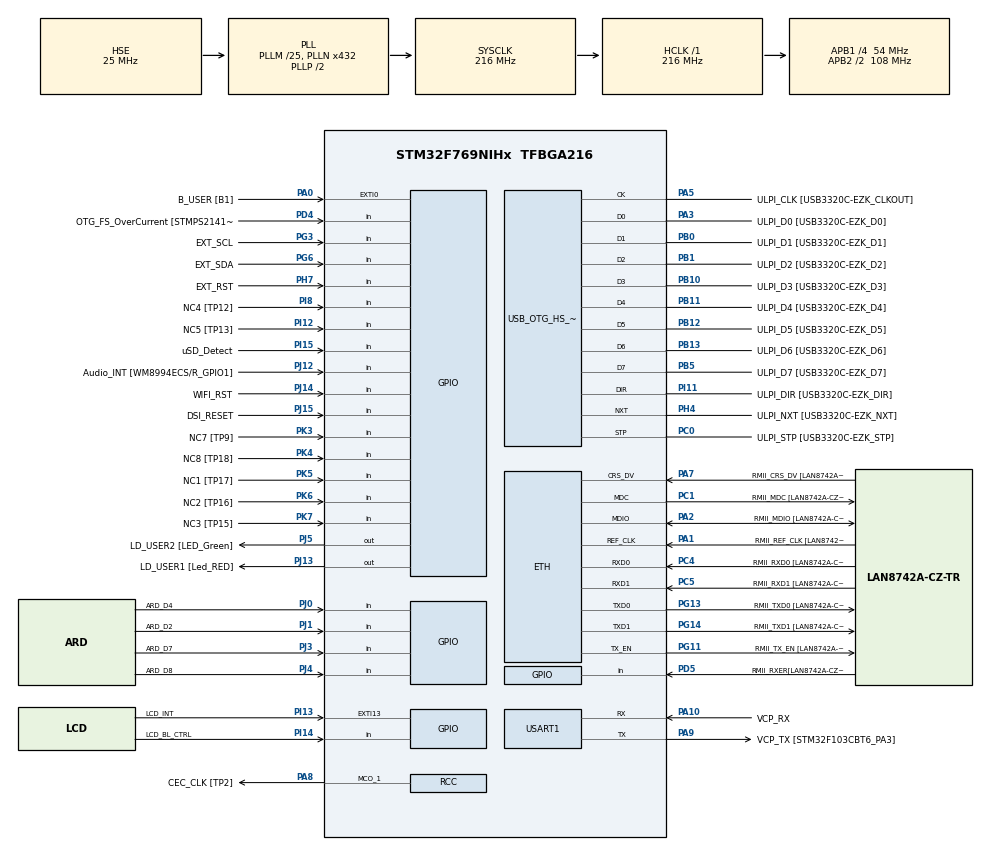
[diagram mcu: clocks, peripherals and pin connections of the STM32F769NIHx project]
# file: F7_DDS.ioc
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CORTEX_M7.BaseAddress_Spec=0x3007c000
CORTEX_M7.CPU_DCache=Enabled
CORTEX_M7.CPU_ICache=Enabled
CORTEX_M7.DisableExec_Spec=MPU_INSTRUCTION_ACCESS_ENABLE
CORTEX_M7.IsBufferable_Spec=MPU_ACCESS_BUFFERABLE
CORTEX_M7.IsCacheable_Spec=MPU_ACCESS_CACHEABLE
CORTEX_M7.MPU_Control=__NULL
CORTEX_M7.Size_Spec=MPU_REGION_SIZE_256B
CORTEX_M7.SubRegionDisable_Spec=0x0
CORTEX_M7.default_mode_Activation=1
DSIHOST_CKN.GPIO_Label=DSI_CK_N
DSIHOST_CKN.Signal=DSIHOST_CKN
DSIHOST_CKP.GPIO_Label=DSI_CK_P
DSIHOST_CKP.Signal=DSIHOST_CKP
DSIHOST_D0N.GPIO_Label=DSI_D0_N
DSIHOST_D0N.Signal=DSIHOST_D0N
DSIHOST_D0P.GPIO_Label=DSI_D0_p
DSIHOST_D0P.Signal=DSIHOST_D0P
DSIHOST_D1N.GPIO_Label=DSI_D1_N
DSIHOST_D1N.Signal=DSIHOST_D1N
DSIHOST_D1P.GPIO_Label=DSI_D1_P
DSIHOST_D1P.Signal=DSIHOST_D1P
Dma.Request0=USART1_RX
Dma.Request1=USART1_TX
Dma.USART1_RX.0.Direction=DMA_PERIPH_TO_MEMORY
Dma.USART1_RX.0.FIFOMode=DMA_FIFOMODE_DISABLE
Dma.USART1_RX.0.Instance=DMA2_Stream2
Dma.USART1_RX.0.MemDataAlignment=DMA_MDATAALIGN_BYTE
Dma.USART1_RX.0.MemInc=DMA_MINC_ENABLE
Dma.USART1_RX.0.Mode=DMA_NORMAL
Dma.USART1_RX.0.PeriphDataAlignment=DMA_PDATAALIGN_BYTE
Dma.USART1_RX.0.PeriphInc=DMA_PINC_DISABLE
Dma.USART1_RX.0.Priority=DMA_PRIORITY_MEDIUM
Dma.USART1_TX.1.Direction=DMA_MEMORY_TO_PERIPH
Dma.USART1_TX.1.FIFOMode=DMA_FIFOMODE_DISABLE
Dma.USART1_TX.1.Instance=DMA2_Stream7
Dma.USART1_TX.1.MemDataAlignment=DMA_MDATAALIGN_BYTE
Dma.USART1_TX.1.MemInc=DMA_MINC_ENABLE
Dma.USART1_TX.1.Mode=DMA_NORMAL
Dma.USART1_TX.1.PeriphDataAlignment=DMA_PDATAALIGN_BYTE
Dma.USART1_TX.1.PeriphInc=DMA_PINC_DISABLE
Dma.USART1_TX.1.Priority=DMA_PRIORITY_MEDIUM
ETH.MediaInterface=HAL_ETH_RMII_MODE
ETH.RxBuffLen=1524
FREERTOS.HEAP_NUMBER=2
FREERTOS.Tasks01=defaultTask,24,2048,StartDefaultTask,Default,NULL,Static,defaultTaskBuffer,defaultTaskControlBlock
FREERTOS.configTOTAL_HEAP_SIZE=16384
FREERTOS.configUSE_NEWLIB_REENTRANT=1
LWIP.BSP.number=1
LWIP.GATEWAY_ADDRESS=192.168.001.001
LWIP.IP_ADDRESS=192.168.001.002
LWIP.LWIP_DHCP=0
LWIP.LWIP_DNS=1
LWIP.MEMP_NUM_TCP_PCB=2
LWIP.MEMP_NUM_UDP_PCB=2
LWIP.NETMASK_ADDRESS=255.255.255.000
LWIP.Version=v2.1.2_Cube
LWIP0.BSP.STBoard=false
LWIP0.BSP.api=BSP_COMPONENT_DRIVER
LWIP0.BSP.component=LAN8742
LWIP0.BSP.instance=LAN8742
LWIP0.BSP.name=Driver_PHY
LWIP0.BSP.semaphore=S_LAN8742
LWIP0.BSP.solution=LAN8742
Mcu.Family=STM32F7
Mcu.Name=STM32F769NIHx
Mcu.Package=TFBGA216
NVIC.DMA2_Stream2_IRQn=true\:5\:0\:false\:false\:true\:true\:false\:true\:true
NVIC.DMA2_Stream7_IRQn=true\:5\:0\:false\:false\:true\:true\:false\:true\:true
NVIC.ETH_IRQn=true\:5\:0\:false\:false\:true\:true\:true\:true\:true
NVIC.OTG_HS_IRQn=true\:5\:0\:false\:false\:true\:true\:false\:true\:true
NVIC.PriorityGroup=NVIC_PRIORITYGROUP_4
NVIC.TIM7_IRQn=true\:15\:0\:false\:false\:true\:false\:false\:true\:true
NVIC.TimeBase=TIM7_IRQn
NVIC.TimeBaseIP=TIM7
NVIC.USART1_IRQn=true\:5\:0\:true\:false\:true\:true\:true\:true\:true
PA0/WKUP.GPIO_Label=B_USER [B1]
PA0/WKUP.Signal=GPXTI0
PA1.GPIO_Label=RMII_REF_CLK [LAN8742A-CZ-TR_REFCLK0]
PA1.Mode=RMII
PA1.Signal=ETH_REF_CLK
PA10.GPIO_Label=VCP_RX 
PA10.Mode=Asynchronous
PA10.Signal=USART1_RX
PA11.GPIO_Label=SPI2_NSS
PA11.Signal=SPI2_NSS
PA12.GPIO_Label=ARD_D13/SCK
PA12.GPIO_Mode=GPIO_MODE_AF_PP
PA12.GPIO_PuPd=GPIO_NOPULL
PA12.GPIO_Speed=GPIO_SPEED_FREQ_LOW
PA12.Signal=SPI2_SCK
PA13.GPIO_Label=SWDIO
PA13.Mode=Serial_Wire
PA13.Signal=SYS_JTMS-SWDIO
PA14.GPIO_Label=SWCLK
PA14.Mode=Serial_Wire
PA14.Signal=SYS_JTCK-SWCLK
PA15.GPIO_Label=CEC
PA15.Signal=CEC
PA2.GPIO_Label=RMII_MDIO [LAN8742A-CZ-TR_MDIO]
PA2.Mode=RMII
PA2.Signal=ETH_MDIO
PA3.GPIO_Label=ULPI_D0 [USB3320C-EZK_D0]
PA3.Mode=Device_HS
PA3.Signal=USB_OTG_HS_ULPI_D0
PA4.GPIO_Label=ARD_A1
PA4.Signal=ADCx_IN4
PA5.GPIO_Label=ULPI_CLK [USB3320C-EZK_CLKOUT]
PA5.Mode=Device_HS
PA5.Signal=USB_OTG_HS_ULPI_CK
PA6.GPIO_Label=ARD_A0
PA6.Signal=ADCx_IN6
PA7.GPIO_Label=RMII_CRS_DV [LAN8742A-CZ-TR_CRS_DV]
PA7.Mode=RMII
PA7.Signal=ETH_CRS_DV
PA8.GPIO_Label=CEC_CLK [TP2]
PA8.Mode=Clock-out-1
PA8.Signal=RCC_MCO_1
PA9.GPIO_Label=VCP_TX [STM32F103CBT6_PA3]
PA9.GPIO_Mode=GPIO_MODE_AF_PP
PA9.GPIO_PuPd=GPIO_NOPULL
PA9.GPIO_Speed=GPIO_SPEED_FREQ_LOW
PA9.Mode=Asynchronous
PA9.Signal=USART1_TX
PB0.GPIO_Label=ULPI_D1 [USB3320C-EZK_D1]
PB0.Mode=Device_HS
PB0.Signal=USB_OTG_HS_ULPI_D1
PB1.GPIO_Label=ULPI_D2 [USB3320C-EZK_D2]
PB1.Mode=Device_HS
PB1.Signal=USB_OTG_HS_ULPI_D2
PB10.GPIO_Label=ULPI_D3 [USB3320C-EZK_D3]
PB10.Mode=Device_HS
PB10.Signal=USB_OTG_HS_ULPI_D3
PB11.GPIO_Label=ULPI_D4 [USB3320C-EZK_D4]
PB11.Mode=Device_HS
PB11.Signal=USB_OTG_HS_ULPI_D4
PB12.GPIO_Label=ULPI_D5 [USB3320C-EZK_D5]
PB12.Mode=Device_HS
PB12.Signal=USB_OTG_HS_ULPI_D5
PB13.GPIO_Label=ULPI_D6 [USB3320C-EZK_D6]
PB13.Mode=Device_HS
PB13.Signal=USB_OTG_HS_ULPI_D6
PB14.GPIO_Label=ARDUINO MISO/D12
PB14.GPIO_Mode=GPIO_MODE_AF_PP
PB14.GPIO_PuPd=GPIO_NOPULL
PB14.GPIO_Speed=GPIO_SPEED_FREQ_LOW
PB14.Signal=SPI2_MISO
PB15.GPIO_Label=ARDUINO MOSI/PWM/D11
PB15.GPIO_Mode=GPIO_MODE_AF_PP
PB15.GPIO_PuPd=GPIO_NOPULL
PB15.GPIO_Speed=GPIO_SPEED_FREQ_LOW
PB15.Signal=SPI2_MOSI
PB2.Signal=QUADSPI_CLK
PB3.GPIO_Label=uSD_D2
PB3.Signal=SDMMC2_D2
PB4.GPIO_Label=uSD_D3
PB4.Signal=SDMMC2_D3
PB5.GPIO_Label=ULPI_D7 [USB3320C-EZK_D7]
PB5.Mode=Device_HS
PB5.Signal=USB_OTG_HS_ULPI_D7
PB6.GPIO_Label=QSPI_NCS [N25Q128A13EF840E_S]
PB6.Signal=QUADSPI_BK1_NCS
PB7.GPIO_Label=AUDIO_SDA [WM8994ECS/R_SDA]
PB7.Signal=I2C4_SDA
PB8.GPIO_Label=ARDUINO SCL/D15
PB8.GPIO_Mode=GPIO_MODE_AF_OD
PB8.GPIO_PuPd=GPIO_NOPULL
PB8.GPIO_Speed=GPIO_SPEED_FREQ_LOW
PB8.Signal=I2C1_SCL
PB9.GPIO_Label=ARDUINO SDA/D14
PB9.GPIO_Mode=GPIO_MODE_AF_OD
PB9.GPIO_PuPd=GPIO_NOPULL
PB9.GPIO_Speed=GPIO_SPEED_FREQ_LOW
PB9.Signal=I2C1_SDA
PC0.GPIO_Label=ULPI_STP [USB3320C-EZK_STP]
PC0.Mode=Device_HS
PC0.Signal=USB_OTG_HS_ULPI_STP
PC1.GPIO_Label=RMII_MDC [LAN8742A-CZ-TR_MDC]
PC1.Mode=RMII
PC1.Signal=ETH_MDC
PC10.GPIO_Label=QSPI_D1 [MT25QL512ABB1EW9_DQ1]
PC10.Signal=QUADSPI_BK1_IO1
PC11.GPIO_Label=DFSDM_DATIN5 [TP100]
PC11.Signal=S_DATAIN5DFSDM1
PC12.GPIO_Label=WIFI_RX
PC12.Signal=UART5_TX
PC13.Signal=RTC_OUT
PC14/OSC32_IN.GPIO_Label=RCC_OSC32_IN
PC14/OSC32_IN.Mode=LSE-External-Oscillator
PC14/OSC32_IN.Signal=RCC_OSC32_IN
PC15/OSC32_OUT.GPIO_Label=RCC_OSC32_OUT
PC15/OSC32_OUT.Mode=LSE-External-Oscillator
PC15/OSC32_OUT.Signal=RCC_OSC32_OUT
PC2.GPIO_Label=ARD_A2
PC2.Signal=ADCx_IN12
PC3.GPIO_Label=DFSDM_DATIN1 [TP101]
PC3.Signal=S_DATAIN1DFSDM1
PC4.GPIO_Label=RMII_RXD0 [LAN8742A-CZ-TR_RXD0]
PC4.Mode=RMII
PC4.Signal=ETH_RXD0
PC5.GPIO_Label=RMII_RXD1 [LAN8742A-CZ-TR_RXD1]
PC5.Mode=RMII
PC5.Signal=ETH_RXD1
PC6.GPIO_Label=ARDUINO TX/D1
PC6.Signal=USART6_TX
PC7.GPIO_Label=ARD_D0/RX
PC7.Signal=USART6_RX
PC8.GPIO_Label=ARD_D5/PWM
PC8.Signal=S_TIM3_CH3
PC9.GPIO_Label=QSPI_D0 [N25Q128A13EF840E_DQ0]
PC9.Signal=QUADSPI_BK1_IO0
PD0.GPIO_Label=FMC_D2 [MT48LC4M32B2B5-6A_DQ2]
PD0.Signal=FMC_D2_DA2
PD1.GPIO_Label=FMC_D3 [MT48LC4M32B2B5-6A_DQ3]
PD1.Signal=FMC_D3_DA3
PD10.GPIO_Label=FMC_D15 [MT48LC4M32B2B5-6A_DQ15]
PD10.Signal=FMC_D15_DA15
PD11.GPIO_Label=SPDIF_TX [TP20]
PD11.Signal=SAI2_SD_A
PD12.GPIO_Label=AUDIO_SCL [WM8994ECS/R_SCLK]
PD12.Signal=I2C4_SCL
PD13.GPIO_Label=QSPI_D3 [N25Q128A13EF840E_DQ3]
PD13.Signal=QUADSPI_BK1_IO3
PD14.GPIO_Label=FMC_D0 [MT48LC4M32B2B5-6A_DQ0]
PD14.Signal=FMC_D0_DA0
PD15.GPIO_Label=FMC_D1 [MT48LC4M32B2B5-6A_DQ1]
PD15.Signal=FMC_D1_DA1
PD2.GPIO_Label=WIFI_TX
PD2.Signal=UART5_RX
PD3.GPIO_Label=DFSDM_CKOUT [TP102]
PD3.Signal=S_CKOUTDFSDM1
PD4.GPIO_Label=OTG_FS_OverCurrent [STMPS2141STR_Fault]
PD4.Signal=GPIO_Input
PD5.GPIO_Label=RMII_RXER[LAN8742A-CZ-TR_RXERR]
PD5.Signal=GPIO_Input
PD6.GPIO_Label=uSD_CLK
PD6.Signal=SDMMC2_CK
PD7.GPIO_Label=uSD_CMD
PD7.Signal=SDMMC2_CMD
PD8.GPIO_Label=FMC_D13 [MT48LC4M32B2B5-6A_DQ13]
PD8.Signal=FMC_D13_DA13
PD9.GPIO_Label=FMC_D14 [MT48LC4M32B2B5-6A_DQ14]
PD9.Signal=FMC_D14_DA14
PE0.GPIO_Label=FMC_NBL0 [MT48LC4M32B2B5-6A_DQM0]
PE0.Signal=FMC_NBL0
PE1.GPIO_Label=FMC_NBL1 [MT48LC4M32B2B5-6A_DQM1]
PE1.Signal=FMC_NBL1
PE10.GPIO_Label=FMC_D7 [MT48LC4M32B2B5-6A_DQ7]
PE10.Signal=FMC_D7_DA7
PE11.GPIO_Label=FMC_D8 [MT48LC4M32B2B5-6A_DQ8]
PE11.Signal=FMC_D8_DA8
PE12.GPIO_Label=FMC_D9 [MT48LC4M32B2B5-6A_DQ9]
PE12.Signal=FMC_D9_DA9
PE13.GPIO_Label=FMC_D10 [MT48LC4M32B2B5-6A_DQ10]
PE13.Signal=FMC_D10_DA10
PE14.GPIO_Label=FMC_D11 [MT48LC4M32B2B5-6A_DQ11]
PE14.Signal=FMC_D11_DA11
PE15.GPIO_Label=FMC_D12 [MT48LC4M32B2B5-6A_DQ12]
PE15.Signal=FMC_D12_DA12
PE2.GPIO_Label=QSPI_D2 [N25Q128A13EF840E_DQ2]
PE2.Signal=QUADSPI_BK1_IO2
PE3.GPIO_Label=SAI1_SDB [WM8994ECS/R_ADCDAT1]
PE3.Signal=SAI1_SD_B
PE4.GPIO_Label=SAI1_FSA [WM8994ECS/R_LRCLK1]
PE4.Signal=SAI1_FS_A
PE5.GPIO_Label=SAI1_SCKA [WM8994ECS/R_BCLK1]
PE5.Signal=SAI1_SCK_A
PE6.GPIO_Label=SAI1_SDA [WM8994ECS/R_DACDAT1]
PE6.Signal=SAI1_SD_A
PE7.GPIO_Label=FMC_D4 [MT48LC4M32B2B5-6A_DQ4]
PE7.Signal=FMC_D4_DA4
PE8.GPIO_Label=FMC_D5 [MT48LC4M32B2B5-6A_DQ5]
PE8.Signal=FMC_D5_DA5
PE9.GPIO_Label=FMC_D6 [MT48LC4M32B2B5-6A_DQ6]
PE9.Signal=FMC_D6_DA6
PF0.GPIO_Label=FMC_A0 [MT48LC4M32B2B5-6A_A0]
PF0.Signal=FMC_A0
PF1.GPIO_Label=FMC_A1 [MT48LC4M32B2B5-6A_A1]
PF1.Signal=FMC_A1
PF10.GPIO_Label=ARDUINO A1
PF10.GPIO_Mode=GPIO_MODE_ANALOG
PF10.GPIO_PuPd=GPIO_NOPULL
PF10.Signal=ADC3_IN8
PF11.GPIO_Label=FMC_SDNRAS [MT48LC4M32B2B5-6A_RAS]
PF11.Signal=FMC_SDNRAS
PF12.GPIO_Label=FMC_A6 [MT48LC4M32B2B5-6A_A6]
PF12.Signal=FMC_A6
PF13.GPIO_Label=FMC_A7 [MT48LC4M32B2B5-6A_A7]
PF13.Signal=FMC_A7
PF14.GPIO_Label=FMC_A8 [MT48LC4M32B2B5-6A_A8]
PF14.Signal=FMC_A8
PF15.GPIO_Label=FMC_A9 [MT48LC4M32B2B5-6A_A9]
PF15.Signal=FMC_A9
PF2.GPIO_Label=FMC_A2 [MT48LC4M32B2B5-6A_A2]
PF2.Signal=FMC_A2
PF3.GPIO_Label=FMC_A3 [MT48LC4M32B2B5-6A_A3]
PF3.Signal=FMC_A3
PF4.GPIO_Label=FMC_A4 [MT48LC4M32B2B5-6A_A4]
PF4.Signal=FMC_A4
PF5.GPIO_Label=FMC_A5 [MT48LC4M32B2B5-6A_A5]
PF5.Signal=FMC_A5
PF6.GPIO_Label=ARD_D3/PWM
PF6.Signal=S_TIM10_CH1
PF7.GPIO_Label=ARD_D6/PWM
PF7.Signal=S_TIM11_CH1
PF8.GPIO_Label=ARDUINO A3
PF8.GPIO_Mode=GPIO_MODE_ANALOG
PF8.GPIO_PuPd=GPIO_NOPULL
PF8.Signal=ADC3_IN6
PF9.GPIO_Label=ARDUINO A2
PF9.GPIO_Mode=GPIO_MODE_ANALOG
PF9.GPIO_PuPd=GPIO_NOPULL
PF9.Signal=ADC3_IN7
PG0.GPIO_Label=FMC_A10 [MT48LC4M32B2B5-6A_A10]
PG0.Signal=FMC_A10
PG1.GPIO_Label=FMC_A11 [MT48LC4M32B2B5-6A_A11]
PG1.Signal=FMC_A11
PG10.GPIO_Label=uSD_D1
PG10.Signal=SDMMC2_D1
PG11.GPIO_Label=RMII_TX_EN [LAN8742A-CZ-TR_TXEN]
PG11.Mode=RMII
PG11.Signal=ETH_TX_EN
PG12.GPIO_Label=SPDIF_RX [74LVC1G04SE_4]
PG12.Signal=SPDIFRX_IN1
PG13.GPIO_Label=RMII_TXD0 [LAN8742A-CZ-TR_TXD0]
PG13.Mode=RMII
PG13.Signal=ETH_TXD0
PG14.GPIO_Label=RMII_TXD1 [LAN8742A-CZ-TR_TXD1]
PG14.Mode=RMII
PG14.Signal=ETH_TXD1
PG15.GPIO_Label=FMC_SDNCAS [MT48LC4M32B2B5-6A_CAS]
PG15.Signal=FMC_SDNCAS
PG2.GPIO_Label=FMC_A12
PG2.Signal=FMC_A12
PG3.GPIO_Label=EXT_SCL
PG3.Signal=GPIO_Input
PG4.GPIO_Label=FMC_BA0 [MT48LC4M32B2B5-6A_BA0]
PG4.Signal=FMC_A14_BA0
PG5.GPIO_Label=FMC_BA1 [MT48LC4M32B2B5-6A_BA1]
PG5.Signal=FMC_A15_BA1
PG6.GPIO_Label=EXT_SDA
PG6.Signal=GPIO_Input
PG7.GPIO_Label=SAI1_MCLKA [WM8994ECS/R_MCLK1]
PG7.Signal=SAI1_MCLK_A
PG8.GPIO_Label=FMC_SDCLK [MT48LC4M32B2B5-6A_CLK]
PG8.Signal=FMC_SDCLK
PG9.GPIO_Label=uSD_D0
PG9.Signal=SDMMC2_D0
PH0/OSC_IN.GPIO_Label=OSC_25M [NZ2520SB-25.00M_OUT]
PH0/OSC_IN.Mode=HSE-External-Oscillator
PH0/OSC_IN.Signal=RCC_OSC_IN
PH1/OSC_OUT.Mode=HSE-External-Oscillator
PH1/OSC_OUT.Signal=RCC_OSC_OUT
PH10.GPIO_Label=FMC_D18 [MT48LC4M32B2B5-6A_DQ18]
PH10.Signal=FMC_D18
PH11.GPIO_Label=FMC_D19 [MT48LC4M32B2B5-6A_DQ19]
PH11.Signal=FMC_D19
PH12.GPIO_Label=D20
PH12.Signal=FMC_D20
PH13.GPIO_Label=D21
PH13.Signal=FMC_D21
PH14.GPIO_Label=D22
PH14.Signal=FMC_D22
PH15.GPIO_Label=D23
PH15.Signal=FMC_D23
PH2.Signal=ETH_CRS
PH3.GPIO_Label=FMC_SDNE0 [MT48LC4M32B2B5-6A_CS]
PH3.Signal=FMC_SDNE0
PH4.GPIO_Label=ULPI_NXT [USB3320C-EZK_NXT]
PH4.Mode=Device_HS
PH4.Signal=USB_OTG_HS_ULPI_NXT
PH5.GPIO_Label=FMC_SDNME [MT48LC4M32B2B5-6A_WE]
PH5.Signal=FMC_SDNWE
PH6.GPIO_Label=ARDUINO PWM/D6
PH6.Signal=S_TIM12_CH1
PH7.GPIO_Label=EXT_RST
PH7.Signal=GPIO_Input
PH8.GPIO_Label=FMC_D16 [MT48LC4M32B2B5-6A_DQ16]
PH8.Signal=FMC_D16
PH9.GPIO_Label=FMC_D\!7 [MT48LC4M32B2B5-6A_DQ17]
PH9.Signal=FMC_D17
PI0.GPIO_Label=D24
PI0.Signal=FMC_D24
PI1.GPIO_Label=D25
PI1.Signal=FMC_D25
PI10.GPIO_Label=D31
PI10.Signal=FMC_D31
PI11.GPIO_Label=ULPI_DIR [USB3320C-EZK_DIR]
PI11.Mode=Device_HS
PI11.Signal=USB_OTG_HS_ULPI_DIR
PI12.GPIO_Label=NC5 [TP13]
PI12.Signal=GPIO_Input
PI13.GPIO_Label=LCD_INT
PI13.GPIO_ModeDefaultEXTI=GPIO_MODE_EVT_RISING
PI13.Signal=GPXTI13
PI14.GPIO_Label=LCD_BL_CTRL
PI14.Signal=GPIO_Input
PI15.GPIO_Label=uSD_Detect
PI15.Signal=GPIO_Input
PI2.GPIO_Label=D26
PI2.Signal=FMC_D26
PI3.GPIO_Label=D27
PI3.Signal=FMC_D27
PI4.GPIO_Label=FMC_NBL2 [MT48LC4M32B2B5-6A_DQM2]
PI4.Signal=FMC_NBL2
PI5.GPIO_Label=FMC_NBL3 [MT48LC4M32B2B5-6A_DQM3]
PI5.Signal=FMC_NBL3
PI6.GPIO_Label=D28
PI6.Signal=FMC_D28
PI7.GPIO_Label=D29
PI7.Signal=FMC_D29
PI8.GPIO_Label=NC4 [TP12]
PI8.Signal=GPIO_Input
PI9.GPIO_Label=D30
PI9.Signal=FMC_D30
PJ0.GPIO_Label=ARD_D4
PJ0.Signal=GPIO_Input
PJ1.GPIO_Label=ARD_D2
PJ1.Signal=GPIO_Input
PJ12.GPIO_Label=Audio_INT [WM8994ECS/R_GPIO1]
PJ12.Signal=GPIO_Input
PJ13.GPIO_Label=LD_USER1 [Led_RED]
PJ13.Signal=GPIO_Output
PJ14.GPIO_Label=WIFI_RST
PJ14.Signal=GPIO_Input
PJ15.GPIO_Label=DSI_RESET
PJ15.Signal=GPIO_Input
PJ2.GPIO_Label=DSIHOST_TE
PJ2.Signal=DSIHOST_TE
PJ3.GPIO_Label=ARD_D7
PJ3.Signal=GPIO_Input
PJ4.GPIO_Label=ARD_D8
PJ4.Signal=GPIO_Input
PJ5.GPIO_Label=LD_USER2 [LED_Green]
PJ5.Signal=GPIO_Output
PK3.GPIO_Label=NC7 [TP9]
PK3.Signal=GPIO_Input
PK4.GPIO_Label=NC8 [TP18]
PK4.Signal=GPIO_Input
PK5.GPIO_Label=NC1 [TP17]
PK5.Signal=GPIO_Input
PK6.GPIO_Label=NC2 [TP16]
PK6.Signal=GPIO_Input
PK7.GPIO_Label=NC3 [TP15]
PK7.Signal=GPIO_Input
ProjectManager.HeapSize=0x5000
ProjectManager.StackSize=0x5000
ProjectManager.TargetToolchain=Makefile
RCC.AHBFreq_Value=216000000
RCC.APB1CLKDivider=RCC_HCLK_DIV4
RCC.APB1Freq_Value=54000000
RCC.APB1TimFreq_Value=108000000
RCC.APB2CLKDivider=RCC_HCLK_DIV2
RCC.APB2Freq_Value=108000000
RCC.APB2TimFreq_Value=216000000
RCC.CortexFreq_Value=216000000
RCC.HCLKFreq_Value=216000000
RCC.HSE_VALUE=25000000
RCC.HSI_VALUE=16000000
RCC.PLLM=25
RCC.PLLN=432
RCC.PLLQ=4
RCC.PLLSAIQ=3
RCC.PLLSourceVirtual=RCC_PLLSOURCE_HSE
RCC.RCC_RTC_Clock_Source_FROM_HSE=RCC_RTCCLKSOURCE_HSE_DIV25
RCC.RTCClockSelection=RCC_RTCCLKSOURCE_HSE_DIV25
RCC.SYSCLKFreq_VALUE=216000000
RCC.SYSCLKSource=RCC_SYSCLKSOURCE_PLLCLK
RCC.USBFreq_Value=108000000
RCC.VCOOutputFreq_Value=432000000
RTC.AsynchPrediv=49
RTC.Date=4
RTC.Format=RTC_FORMAT_BIN
RTC.Month=RTC_MONTH_JANUARY
RTC.SynchPrediv=19999
RTC.WeekDay=RTC_WEEKDAY_THURSDAY
RTC.Year=24
SH.ADCx_IN12.0=ADC1_IN12
SH.ADCx_IN4.0=ADC1_IN4
SH.ADCx_IN6.0=ADC1_IN6
SH.FMC_A0.0=FMC_A0
SH.FMC_A1.0=FMC_A1
SH.FMC_A10.0=FMC_A10
SH.FMC_A11.0=FMC_A11
SH.FMC_A12.0=FMC_A12
SH.FMC_A14_BA0.0=FMC_BA0
SH.FMC_A15_BA1.0=FMC_BA1
SH.FMC_A2.0=FMC_A2
SH.FMC_A3.0=FMC_A3
SH.FMC_A4.0=FMC_A4
SH.FMC_A5.0=FMC_A5
SH.FMC_A6.0=FMC_A6
SH.FMC_A7.0=FMC_A7
SH.FMC_A8.0=FMC_A8
SH.FMC_A9.0=FMC_A9
SH.FMC_D0_DA0.0=FMC_D0
SH.FMC_D10_DA10.0=FMC_D10
SH.FMC_D11_DA11.0=FMC_D11
SH.FMC_D12_DA12.0=FMC_D12
SH.FMC_D13_DA13.0=FMC_D13
SH.FMC_D14_DA14.0=FMC_D14
SH.FMC_D15_DA15.0=FMC_D15
SH.FMC_D16.0=FMC_D16
SH.FMC_D17.0=FMC_D17
SH.FMC_D18.0=FMC_D18
SH.FMC_D19.0=FMC_D19
SH.FMC_D1_DA1.0=FMC_D1
SH.FMC_D20.0=FMC_D20
SH.FMC_D21.0=FMC_D21
SH.FMC_D22.0=FMC_D22
SH.FMC_D23.0=FMC_D23
SH.FMC_D24.0=FMC_D24
SH.FMC_D25.0=FMC_D25
SH.FMC_D26.0=FMC_D26
SH.FMC_D27.0=FMC_D27
SH.FMC_D28.0=FMC_D28
SH.FMC_D29.0=FMC_D29
SH.FMC_D2_DA2.0=FMC_D2
SH.FMC_D30.0=FMC_D30
SH.FMC_D31.0=FMC_D31
SH.FMC_D3_DA3.0=FMC_D3
SH.FMC_D4_DA4.0=FMC_D4
SH.FMC_D5_DA5.0=FMC_D5
SH.FMC_D6_DA6.0=FMC_D6
SH.FMC_D7_DA7.0=FMC_D7
SH.FMC_D8_DA8.0=FMC_D8
SH.FMC_D9_DA9.0=FMC_D9
SH.FMC_NBL0.0=FMC_NBL0
SH.FMC_NBL1.0=FMC_NBL1
SH.FMC_NBL2.0=FMC_NBL2
SH.FMC_NBL3.0=FMC_NBL3
SH.FMC_SDCLK.0=FMC_SDCLK
SH.FMC_SDNCAS.0=FMC_SDNCAS
SH.FMC_SDNRAS.0=FMC_SDNRAS
SH.FMC_SDNWE.0=FMC_SDNWE
SH.S_CKOUTDFSDM1.0=DFSDM1_CKOUT
SH.S_DATAIN1DFSDM1.0=DFSDM1_DATIN1
SH.S_DATAIN5DFSDM1.0=DFSDM1_DATIN5
SH.S_TIM10_CH1.0=TIM10_CH1
SH.S_TIM11_CH1.0=TIM11_CH1
SH.S_TIM12_CH1.0=TIM12_CH1
SH.S_TIM3_CH3.0=TIM3_CH3
USART1.VirtualMode-Asynchronous=VM_ASYNC
USB_DEVICE.CLASS_NAME_HS=CDC
USB_DEVICE.VirtualMode-CDC_HS=Cdc
USB_DEVICE.VirtualModeHS=Cdc_HS
USB_OTG_HS.DeviceSpeed-Device_HS=PCD_SPEED_HIGH
USB_OTG_HS.VirtualMode-Device_HS=Device_HS
VP_FREERTOS_VS_CMSIS_V2.Mode=CMSIS_V2
VP_LWIP_VS_Enabled.Mode=Enabled
VP_RTC_VS_RTC_Activate.Mode=RTC_Enabled
VP_RTC_VS_RTC_Calendar.Mode=RTC_Calendar
VP_SYS_VS_tim7.Mode=TIM7
VP_USB_DEVICE_VS_USB_DEVICE_CDC_HS.Mode=CDC_HS
board=STM32F769I-DISCO

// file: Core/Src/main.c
/* USER CODE BEGIN Header */
/**
  ******************************************************************************
  * @file           : main.c
  * @brief          : Main program body
  ******************************************************************************
  * @attention
  *
  * Copyright (c) 2024 STMicroelectronics.
  * All rights reserved.
  *
  * This software is licensed under terms that can be found in the LICENSE file
  * in the root directory of this software component.
  * If no LICENSE file comes with this software, it is provided AS-IS.
  *
  ******************************************************************************
  */
/* USER CODE END Header */
#include "main.h"
#include "cmsis_os.h"
#include "dma.h"
#include "lwip.h"
#include "rtc.h"
#include "usart.h"
#include "usb_device.h"
#include "gpio.h"

/* USER CODE BEGIN Includes */
#include <stdio.h>
#include <errno.h>
#include <unistd.h>
#include <stdio.h>
#include <time.h>
/* USER CODE END Includes */

/* USER CODE BEGIN PV */
extern uint8_t read_buffer[2048];
extern uint8_t recv_buffer[2048];
extern int recv_flag;
extern int rx_len;
/* USER CODE END PV */

void SystemClock_Config(void);
void MX_FREERTOS_Init(void);

int main(void)
{
/* Enable the CPU Cache */

  /* Enable I-Cache---------------------------------------------------------*/
  SCB_EnableICache();

  /* Enable D-Cache---------------------------------------------------------*/
  SCB_EnableDCache();

  /* MCU Configuration--------------------------------------------------------*/

  /* Reset of all peripherals, Initializes the Flash interface and the Systick. */
  HAL_Init();

  /* Configure the system clock */
  SystemClock_Config();

  /* Initialize all configured peripherals */
  MX_GPIO_Init();
  MX_DMA_Init();
  MX_RTC_Init();
  MX_USART1_UART_Init();
  /* USER CODE BEGIN 2 */
  __HAL_UART_ENABLE_IT(&huart1, UART_IT_IDLE);
  /* USER CODE END 2 */

  /* Init scheduler */
  osKernelInitialize();

  /* Call init function for freertos objects (in freertos.c) */
  MX_FREERTOS_Init();

  /* Start scheduler */
  osKernelStart();

  /* We should never get here as control is now taken by the scheduler */
  /* Infinite loop */
  while (1)
  {

  }
}

void SystemClock_Config(void)
{
  RCC_OscInitTypeDef RCC_OscInitStruct = {0};
  RCC_ClkInitTypeDef RCC_ClkInitStruct = {0};

  /** Configure LSE Drive Capability
  */
  HAL_PWR_EnableBkUpAccess();

  /** Configure the main internal regulator output voltage
  */
  __HAL_RCC_PWR_CLK_ENABLE();
  __HAL_PWR_VOLTAGESCALING_CONFIG(PWR_REGULATOR_VOLTAGE_SCALE1);

  /** Initializes the RCC Oscillators according to the specified parameters
  * in the RCC_OscInitTypeDef structure.
  */
  RCC_OscInitStruct.OscillatorType = RCC_OSCILLATORTYPE_HSI|RCC_OSCILLATORTYPE_HSE;
  RCC_OscInitStruct.HSEState = RCC_HSE_ON;
  RCC_OscInitStruct.HSIState = RCC_HSI_ON;
  RCC_OscInitStruct.HSICalibrationValue = RCC_HSICALIBRATION_DEFAULT;
  RCC_OscInitStruct.PLL.PLLState = RCC_PLL_ON;
  RCC_OscInitStruct.PLL.PLLSource = RCC_PLLSOURCE_HSE;
  RCC_OscInitStruct.PLL.PLLM = 25;
  RCC_OscInitStruct.PLL.PLLN = 432;
  RCC_OscInitStruct.PLL.PLLP = RCC_PLLP_DIV2;
  RCC_OscInitStruct.PLL.PLLQ = 4;
  RCC_OscInitStruct.PLL.PLLR = 2;
  if (HAL_RCC_OscConfig(&RCC_OscInitStruct) != HAL_OK)
  {
    Error_Handler();
  }

  /** Activate the Over-Drive mode
  */
  if (HAL_PWREx_EnableOverDrive() != HAL_OK)
  {
    Error_Handler();
  }

  /** Initializes the CPU, AHB and APB buses clocks
  */
  RCC_ClkInitStruct.ClockType = RCC_CLOCKTYPE_HCLK|RCC_CLOCKTYPE_SYSCLK
                              |RCC_CLOCKTYPE_PCLK1|RCC_CLOCKTYPE_PCLK2;
  RCC_ClkInitStruct.SYSCLKSource = RCC_SYSCLKSOURCE_PLLCLK;
  RCC_ClkInitStruct.AHBCLKDivider = RCC_SYSCLK_DIV1;
  RCC_ClkInitStruct.APB1CLKDivider = RCC_HCLK_DIV4;
  RCC_ClkInitStruct.APB2CLKDivider = RCC_HCLK_DIV2;

  if (HAL_RCC_ClockConfig(&RCC_ClkInitStruct, FLASH_LATENCY_7) != HAL_OK)
  {
    Error_Handler();
  }
  HAL_RCC_MCOConfig(RCC_MCO1, RCC_MCO1SOURCE_HSI, RCC_MCODIV_1);
}

/* USER CODE BEGIN 4 */
int clock_gettime( clockid_t clock_id,struct timespec * tp )
{
	(void)clock_id;
	RTC_TimeTypeDef rtc_time = {0};
	RTC_DateTypeDef rtc_date = {0};
	struct tm _tm;
	HAL_RTC_GetTime(&hrtc, &rtc_time, RTC_FORMAT_BIN);
	HAL_RTC_GetDate(&hrtc, &rtc_date, RTC_FORMAT_BIN);
	_tm.tm_year = rtc_date.Year+70; //RTC_Year rang 0-99,but tm_year since 1900
	_tm.tm_mon = rtc_date.Month;   //RTC_Month rang 1-12,but tm_mon rang 0-11
	_tm.tm_mday = rtc_date.Date;     //RTC_Date rang 1-31 and tm_mday rang 1-31
	_tm.tm_hour = rtc_time.Hours;  //RTC_Hours rang 0-23 and tm_hour rang 0-23
	_tm.tm_min = rtc_time.Minutes;   //RTC_Minutes rang 0-59 and tm_min rang 0-59
	_tm.tm_sec = rtc_time.Seconds;
	tp->tv_sec = mktime(&_tm);
	tp->tv_nsec = (long)((float)(hrtc.Init.SynchPrediv - rtc_time.SubSeconds)/(hrtc.Init.SynchPrediv+1.0f)*1000000000.0f);
    return 0;
}
int _write(int file, char *data, int len)
{
   if ((file != STDOUT_FILENO) && (file != STDERR_FILENO))
   {
      errno = EBADF;
      return -1;
   }

   // arbitrary timeout 1000
   HAL_StatusTypeDef status = HAL_UART_Transmit(&huart1, (uint8_t*)data, len, 1000);

   // return # of bytes written - as best we can tell
   return (status == HAL_OK ? len : 0);
}
/* USER CODE END 4 */

void HAL_TIM_PeriodElapsedCallback(TIM_HandleTypeDef *htim)
{
  if (htim->Instance == TIM7) {
    HAL_IncTick();
  }
}

void Error_Handler(void)
{
  __disable_irq();
  while (1)
  {
  }
}

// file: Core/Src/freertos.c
/* USER CODE BEGIN Header */
/**
 ******************************************************************************
 * File Name          : freertos.c
 * Description        : Code for freertos applications
 ******************************************************************************
 * @attention
 *
 * Copyright (c) 2024 STMicroelectronics.
 * All rights reserved.
 *
 * This software is licensed under terms that can be found in the LICENSE file
 * in the root directory of this software component.
 * If no LICENSE file comes with this software, it is provided AS-IS.
 *
 ******************************************************************************
 */
/* USER CODE END Header */

#include "FreeRTOS.h"
#include "task.h"
#include "main.h"
#include "cmsis_os.h"

/* USER CODE BEGIN Includes */
#include "sessions.h"
#include "usart.h"
#include "HelloWorld.h"
#include <stdio.h>
#include <uxr/client/client.h>
#include <ucdr/microcdr.h>
/* USER CODE END Includes */

typedef StaticTask_t osStaticThreadDef_t;

/* USER CODE BEGIN Variables */
osThreadId_t uartSessionTaskHandle;
uint32_t uartTaskBuffer[ 2048 ];
osStaticThreadDef_t uartTaskControlBlock;
const osThreadAttr_t uartSessionTask_attributes = {
    .name = "uartSessionTask",
    .priority = (osPriority_t)osPriorityHigh,
    .cb_mem = &uartTaskControlBlock,
    .cb_size = sizeof(uartTaskControlBlock),
    .stack_mem = &uartTaskBuffer[0],
    .stack_size = sizeof(uartTaskBuffer),
};
osThreadId_t udpSessionTaskHandle;
uint32_t udpTaskBuffer[ 2048 ];
osStaticThreadDef_t udpTaskControlBlock;
const osThreadAttr_t udpSessionTask_attributes = {
    .name = "udpSessionTask",
    .priority = (osPriority_t)osPriorityHigh,
    .cb_mem = &udpTaskControlBlock,
    .cb_size = sizeof(udpTaskControlBlock),
    .stack_mem = &udpTaskBuffer[0],
    .stack_size = sizeof(udpTaskBuffer),
};

osSemaphoreId_t usartsemaphoreHandle;
osSemaphoreId_t udpsemaphoreHandle;
/* USER CODE END Variables */
/* Definitions for defaultTask */
osThreadId_t defaultTaskHandle;
uint32_t defaultTaskBuffer[ 2048 ];
osStaticThreadDef_t defaultTaskControlBlock;
const osThreadAttr_t defaultTask_attributes = {
  .name = "defaultTask",
  .cb_mem = &defaultTaskControlBlock,
  .cb_size = sizeof(defaultTaskControlBlock),
  .stack_mem = &defaultTaskBuffer[0],
  .stack_size = sizeof(defaultTaskBuffer),
  .priority = (osPriority_t) osPriorityNormal,
};

/* USER CODE BEGIN FunctionPrototypes */
void uartSessionTask(void *argument);
void udpSessionTask(void *argument);

/* USER CODE END FunctionPrototypes */

void StartDefaultTask(void *argument);

extern void MX_USB_DEVICE_Init(void);
extern void MX_LWIP_Init(void);
void MX_FREERTOS_Init(void); /* (MISRA C 2004 rule 8.1) */

void MX_FREERTOS_Init(void) {

  /* USER CODE BEGIN RTOS_SEMAPHORES */
  /* add semaphores, ... */
  usartsemaphoreHandle = osSemaphoreNew(1, 0, NULL);
  udpsemaphoreHandle = osSemaphoreNew(1, 0, NULL);
  /* USER CODE END RTOS_SEMAPHORES */

  /* Create the thread(s) */
  /* creation of defaultTask */
  defaultTaskHandle = osThreadNew(StartDefaultTask, NULL, &defaultTask_attributes);

  /* USER CODE BEGIN RTOS_THREADS */
  /* add threads, ... */
  uartSessionTaskHandle = osThreadNew(uartSessionTask, NULL, &uartSessionTask_attributes);
  udpSessionTaskHandle = osThreadNew(udpSessionTask, NULL, &udpSessionTask_attributes);
  /* USER CODE END RTOS_THREADS */

}

void StartDefaultTask(void *argument)
{
  /* init code for USB_DEVICE */
  MX_USB_DEVICE_Init();

  /* init code for LWIP */
  MX_LWIP_Init();
  /* USER CODE BEGIN StartDefaultTask */
  osSemaphoreRelease(usartsemaphoreHandle);
  // uartSessionTask(NULL);
  osThreadExit();

  /* USER CODE END StartDefaultTask */
}

/* USER CODE BEGIN Application */
void uartSessionTask(void *argument)
{
  osSemaphoreAcquire(usartsemaphoreHandle, osWaitForever);
  // osThreadTerminate(defaultTaskHandle);
  session_info_t info;
  if (usart_session_open(&info, huart1) < 0)
  {
    printf("usart session open error!");
    HAL_GPIO_TogglePin(LD_USER1_GPIO_Port, LD_USER1_Pin);
  }
  osDelay(1000);
  // Write topics
  uint32_t count = 0;
  /* Infinite loop */
  while (count < 10)
  {
    HelloWorld topic = {
        ++count, "Hello DDS world!"};

    ucdrBuffer ub;
    uint32_t topic_size = HelloWorld_size_of_topic(&topic, 0);
    uxr_prepare_output_stream(&(info.session), info.reliable_out, info.datawriter_id, &ub, topic_size);
    HelloWorld_serialize_topic(&ub, &topic);
    if(!uxr_run_session_time(&(info.session), 1000)){
      HAL_GPIO_TogglePin(LD_USER1_GPIO_Port, LD_USER1_Pin);
    }
  }
  // Delete resources
  uxr_delete_session(&(info.session));
  uxr_close_custom_transport(&(info.transport));
  osSemaphoreRelease(udpsemaphoreHandle);
  osThreadExit();
}

void udpSessionTask(void *argument)
{
  osSemaphoreAcquire(udpsemaphoreHandle, osWaitForever);
  char* ip = "192.168.1.3";
  char* port = "1234";
  uint32_t max_topics = 10;

  // Transport
  uxrUDPTransport transport;
  if (!uxr_init_udp_transport(&transport, UXR_IPv4, ip, port))
  {
      while (1) {
        /* code */
      }

  }

  // Session
  uxrSession session;
  uxr_init_session(&session, &transport.comm, 0xAAAABBBB);
  if (!uxr_create_session(&session))
  {
      // printf("Error at create session.\n");
      while (1) {
        /* code */
      }

      // return 1;
  }

  // Streams
  uint8_t output_reliable_stream_buffer[BUFFER_SIZE];
  uxrStreamId reliable_out = uxr_create_output_reliable_stream(&session, output_reliable_stream_buffer, BUFFER_SIZE,
                  STREAM_HISTORY);
  uint8_t input_reliable_stream_buffer[BUFFER_SIZE];
  uxr_create_input_reliable_stream(&session, input_reliable_stream_buffer, BUFFER_SIZE, STREAM_HISTORY);

  // Create entities
  uxrObjectId participant_id = uxr_object_id(0x01, UXR_PARTICIPANT_ID);
  const char* participant_xml = "<dds>"
          "<participant>"
          "<rtps>"
          "<name>default_xrce_participant</name>"
          "</rtps>"
          "</participant>"
          "</dds>";
  uint16_t participant_req = uxr_buffer_create_participant_xml(&session, reliable_out, participant_id, 0,
                  participant_xml, UXR_REPLACE);

  uxrObjectId topic_id = uxr_object_id(0x01, UXR_TOPIC_ID);
  const char* topic_xml = "<dds>"
          "<topic>"
          "<name>HelloWorldTopic</name>"
          "<dataType>HelloWorld</dataType>"
          "</topic>"
          "</dds>";
  uint16_t topic_req = uxr_buffer_create_topic_xml(&session, reliable_out, topic_id, participant_id, topic_xml,
                  UXR_REPLACE);

  uxrObjectId publisher_id = uxr_object_id(0x01, UXR_PUBLISHER_ID);
  const char* publisher_xml = "";
  uint16_t publisher_req = uxr_buffer_create_publisher_xml(&session, reliable_out, publisher_id, participant_id,
                  publisher_xml, UXR_REPLACE);

  uxrObjectId datawriter_id = uxr_object_id(0x01, UXR_DATAWRITER_ID);
  const char* datawriter_xml = "<dds>"
          "<data_writer>"
          "<topic>"
          "<kind>NO_KEY</kind>"
          "<name>HelloWorldTopic</name>"
          "<dataType>HelloWorld</dataType>"
          "</topic>"
          "</data_writer>"
          "</dds>";
  uint16_t datawriter_req = uxr_buffer_create_datawriter_xml(&session, reliable_out, datawriter_id, publisher_id,
                  datawriter_xml, UXR_REPLACE);

  // Send create entities message and wait its status
  uint8_t status[4];
  uint16_t requests[4] = {
      participant_req, topic_req, publisher_req, datawriter_req
  };
  if (!uxr_run_session_until_all_status(&session, 1000, requests, status, 4))
  {
      printf("Error at create entities: participant: %i topic: %i publisher: %i datawriter: %i\n", status[0],
              status[1], status[2], status[3]);
      // return 1;
  }
  // Write topics
  bool connected = true;
  uint32_t count = 0;
  while (connected && count < max_topics)
  {
      HelloWorld topic = {
          ++count, "Hello DDS world!"
      };

      ucdrBuffer ub;
      uint32_t topic_size = HelloWorld_size_of_topic(&topic, 0);
      uxr_prepare_output_stream(&session, reliable_out, datawriter_id, &ub, topic_size);
      HelloWorld_serialize_topic(&ub, &topic);

      // printf("Send topic: %s, id: %li\n", topic.message, topic.index);
      connected = uxr_run_session_time(&session, 1000);
      osDelay(1000);
  }

  // Delete resources
  uxr_delete_session(&session);
  uxr_close_udp_transport(&transport);
  osThreadExit();
}
/* USER CODE END Application */
